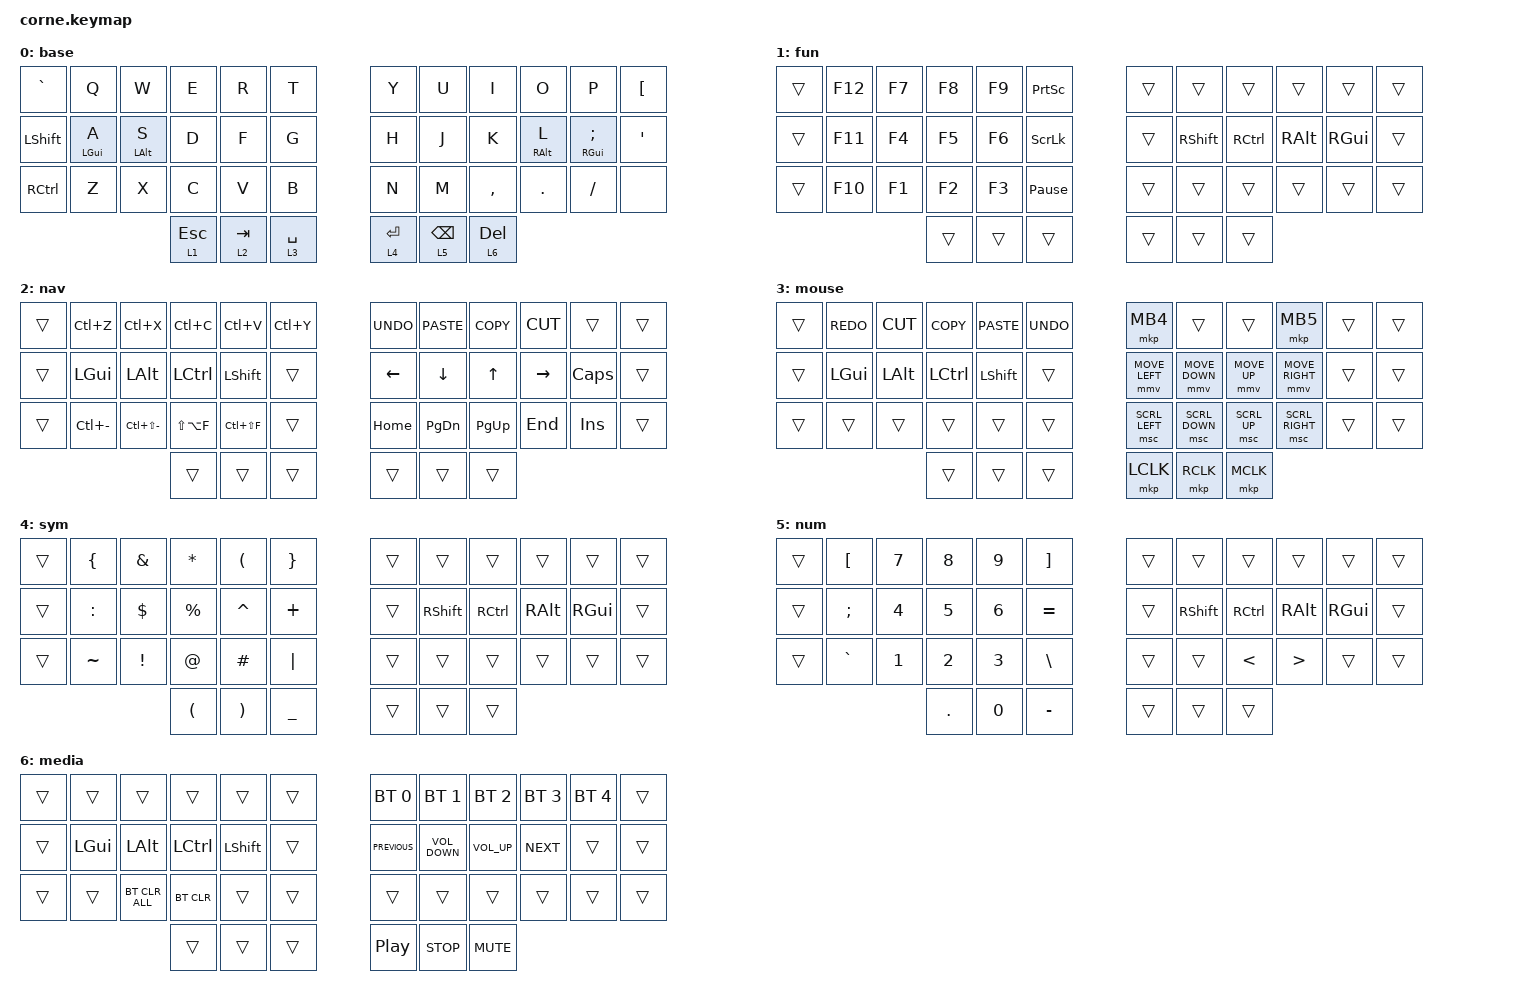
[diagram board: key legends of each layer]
/*
 * Copyright (c) 2020 The ZMK Contributors
 *
 * SPDX-License-Identifier: MIT
 */

#define ZMK_POINTING_DEFAULT_MOVE_VAL 1500  // default: 600
#define ZMK_POINTING_DEFAULT_SCRL_VAL 20    // default: 10

#include <behaviors.dtsi>
#include <dt-bindings/zmk/bt.h>
#include <dt-bindings/zmk/keys.h>
#include <dt-bindings/zmk/pointing.h>

/ {
    combos { compatible = "zmk,combos"; };

    behaviors {
        hml: hml {
            compatible = "zmk,behavior-hold-tap";
            label = "HML";
            bindings = <&kp>, <&kp>;

            #binding-cells = <2>;
            tapping-term-ms = <220>;
            quick-tap-ms = <175>;
            flavor = "balanced";
            require-prior-idle-ms = <100>;
            hold-trigger-key-positions = <39 40 41 30 18 6 7 9 10 11 18 19 20 21 22 23 30 31 32 33 34 35 40 41 8 36 37 38>;
            hold-trigger-on-release;
        };

        hmr: hmr {
            compatible = "zmk,behavior-hold-tap";
            label = "HMR";
            bindings = <&kp>, <&kp>;

            #binding-cells = <2>;
            tapping-term-ms = <220>;
            quick-tap-ms = <175>;
            require-prior-idle-ms = <100>;
            flavor = "balanced";
            hold-trigger-key-positions = <0 1 2 3 4 5 12 13 14 15 16 17 24 25 26 27 28 29 36 37 38 39 40 41>;
            hold-trigger-on-release;
        };

        tkl: tkl {
            compatible = "zmk,behavior-hold-tap";
            label = "TKL";
            bindings = <&mo>, <&kp>;

            #binding-cells = <2>;
            tapping-term-ms = <220>;
            quick-tap-ms = <175>;
            flavor = "balanced";
            require-prior-idle-ms = <100>;
            hold-trigger-key-positions = <39 40 41 30 18 6 7 9 10 11 18 19 20 21 22 23 30 31 32 33 34 35 40 41 8 38 37 36>;
            hold-trigger-on-release;
        };

        tkr: tkr {
            compatible = "zmk,behavior-hold-tap";
            label = "TKR";
            bindings = <&mo>, <&kp>;

            #binding-cells = <2>;
            tapping-term-ms = <220>;
            quick-tap-ms = <175>;
            require-prior-idle-ms = <100>;
            flavor = "balanced";
            hold-trigger-key-positions = <0 1 2 3 4 5 12 13 14 15 16 17 24 25 26 27 28 29 36 37 38 39 40 41>;
            hold-trigger-on-release;
        };
    };

    keymap {
        compatible = "zmk,keymap";

        base {
            // -----------------------------------------------------------------------------------------
            // |  TAB |  Q  |  W  |  E  |  R  |  T  |   |  Y  |  U   |  I  |  O  |  P  | BKSP |
            // | CTRL |  A  |  S  |  D  |  F  |  G  |   |  H  |  J   |  K  |  L  |  ;  |  '   |
            // | SHFT |  Z  |  X  |  C  |  V  |  B  |   |  N  |  M   |  ,  |  .  |  /  | ESC  |
            //                    | GUI | LWR | SPC |   | ENT | RSE  | ALT |

            bindings = <
&kp GRAVE          &kp Q            &kp W            &kp E       &kp R       &kp T           &kp Y         &kp U             &kp I          &kp O             &kp P                &kp LEFT_BRACKET
&kp LEFT_SHIFT     &hml LEFT_GUI A  &hml LEFT_ALT S  &kp D       &kp F       &kp G           &kp H         &kp J             &kp K          &hmr RIGHT_ALT L  &hmr RIGHT_GUI SEMI  &kp APOSTROPHE
&kp RIGHT_CONTROL  &kp Z            &kp X            &kp C       &kp V       &kp B           &kp N         &kp M             &kp COMMA      &kp DOT           &kp FSLH             &none
                                                     &tkl 1 ESC  &tkl 2 TAB  &tkl 3 SPACE    &tkr 4 ENTER  &tkr 5 BACKSPACE  &tkr 6 DELETE
            >;
        };

        fun {
            bindings = <
&trans  &kp F12  &kp F7  &kp F8  &kp F9  &kp PRINTSCREEN    &trans  &trans     &trans     &trans    &trans    &trans
&trans  &kp F11  &kp F4  &kp F5  &kp F6  &kp SCROLLLOCK     &trans  &kp RSHFT  &kp RCTRL  &kp RALT  &kp RGUI  &trans
&trans  &kp F10  &kp F1  &kp F2  &kp F3  &kp PAUSE_BREAK    &trans  &trans     &trans     &trans    &trans    &trans
                         &trans  &trans  &trans             &trans  &trans     &trans
            >;
        };

        nav {
            bindings = <
&trans  &kp LC(Z)      &kp LC(X)          &kp LC(C)      &kp LC(V)      &kp LC(Y)    &kp K_UNDO      &kp K_PASTE     &kp K_COPY    &kp K_CUT  &trans        &trans
&trans  &kp LGUI       &kp LALT           &kp LCTRL      &kp LSHFT      &trans       &kp LEFT_ARROW  &kp DOWN_ARROW  &kp UP_ARROW  &kp RIGHT  &kp CAPSLOCK  &trans
&trans  &kp LC(MINUS)  &kp LC(LS(MINUS))  &kp LS(LA(F))  &kp LC(LS(F))  &trans       &kp HOME        &kp PAGE_DOWN   &kp PAGE_UP   &kp END    &kp INSERT    &trans
                                          &trans         &trans         &trans       &trans          &trans          &trans
            >;
        };

        mouse {
            bindings = <
&trans  &kp K_REDO  &kp K_CUT     &kp K_COPY        &kp K_PASTE     &kp K_UNDO    &mkp MB4        &trans          &trans        &mkp MB5         &trans  &trans
&trans  &kp LGUI    &kp LEFT_ALT  &kp LEFT_CONTROL  &kp LEFT_SHIFT  &trans        &mmv MOVE_LEFT  &mmv MOVE_DOWN  &mmv MOVE_UP  &mmv MOVE_RIGHT  &trans  &trans
&trans  &trans      &trans        &trans            &trans          &trans        &msc SCRL_LEFT  &msc SCRL_DOWN  &msc SCRL_UP  &msc SCRL_RIGHT  &trans  &trans
                                  &trans            &trans          &trans        &mkp LCLK       &mkp RCLK       &mkp MCLK
            >;
        };

        sym {
            // -----------------------------------------------------------------------------------------
            // |  TAB |  1  |  2  |  3  |  4  |  5  |   |  6  |  7  |  8  |  9  |  0  | BKSP |
            // | BTCLR| BT1 | BT2 | BT3 | BT4 | BT5 |   | LFT | DWN |  UP | RGT |     |      |
            // | SHFT |     |     |     |     |     |   |     |     |     |     |     |      |
            //                    | GUI |     | SPC |   | ENT |     | ALT |

            bindings = <
&trans  &kp LEFT_BRACE  &kp AMPERSAND    &kp ASTERISK          &kp LEFT_PARENTHESIS   &kp RIGHT_BRACE    &trans  &trans     &trans     &trans    &trans    &trans
&trans  &kp COLON       &kp DOLLAR       &kp PERCENT           &kp CARET              &kp PLUS           &trans  &kp RSHFT  &kp RCTRL  &kp RALT  &kp RGUI  &trans
&trans  &kp TILDE       &kp EXCLAMATION  &kp AT                &kp HASH               &kp PIPE           &trans  &trans     &trans     &trans    &trans    &trans
                                         &kp LEFT_PARENTHESIS  &kp RIGHT_PARENTHESIS  &kp UNDER          &trans  &trans     &trans
            >;
        };

        num {
            bindings = <
&trans  &kp LBKT   &kp N7  &kp N8   &kp N9  &kp RBKT     &trans  &trans     &trans         &trans    &trans    &trans
&trans  &kp SEMI   &kp N4  &kp N5   &kp N6  &kp EQUAL    &trans  &kp RSHFT  &kp RCTRL      &kp RALT  &kp RGUI  &trans
&trans  &kp GRAVE  &kp N1  &kp N2   &kp N3  &kp BSLH     &trans  &trans     &kp LESS_THAN  &kp GT    &trans    &trans
                           &kp DOT  &kp N0  &kp MINUS    &trans  &trans     &trans
            >;
        };

        media {
            bindings = <
&trans  &trans    &trans          &trans      &trans     &trans    &bt BT_SEL 0      &bt BT_SEL 1       &bt BT_SEL 2     &bt BT_SEL 3  &bt BT_SEL 4  &trans
&trans  &kp LGUI  &kp LALT        &kp LCTRL   &kp LSHFT  &trans    &kp C_PREVIOUS    &kp C_VOLUME_DOWN  &kp C_VOLUME_UP  &kp C_NEXT    &trans        &trans
&trans  &trans    &bt BT_CLR_ALL  &bt BT_CLR  &trans     &trans    &trans            &trans             &trans           &trans        &trans        &trans
                                  &trans      &trans     &trans    &kp C_PLAY_PAUSE  &kp C_STOP         &kp C_MUTE
            >;
        };
    };
};
